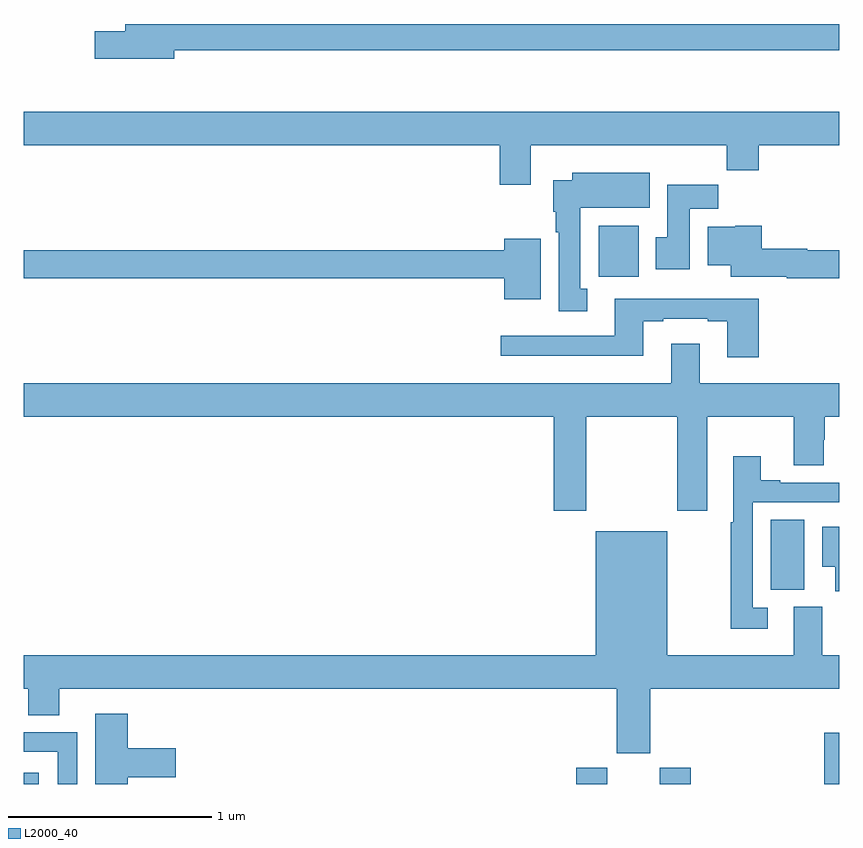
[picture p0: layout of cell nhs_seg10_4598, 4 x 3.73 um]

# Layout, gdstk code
import gdstk
lib = gdstk.Library(unit=1e-6, precision=1e-09)
def R(c, l, rs):  # rectangles x0, y0, x1, y1
    for r in rs: c.add(gdstk.rectangle(r[:2], r[2:], *l))
def P(c, l, *ps):  # polygons
    for p in ps: c.add(gdstk.Polygon(p, *l))
L2000_40 = (2000, 40)

nhs_seg10_4598 = lib.new_cell('nhs_seg10_4598')
R(nhs_seg10_4598, L2000_40, [(373,1314.5,373.075,1314.556), (375.71,1314.5,375.862,1314.579), (376.118,1314.5,376.271,1314.579), (376.926,1314.5,377,1314.752), (376.664,1315.453,376.828,1315.796), (375.819,1316.988,376.015,1317.238)])
P(nhs_seg10_4598, L2000_40, [(373.738,1318.098),(377,1318.098),(377,1318.226),(373.499,1318.226),(373.499,1318.19),(373.35,1318.19),(373.35,1318.055),(373.738,1318.055)],
  [(375.487,1317.632),(376.447,1317.632),(376.447,1317.508),(376.604,1317.508),(376.604,1317.632),(377,1317.632),(377,1317.796),(373,1317.796),(373,1317.632),(375.335,1317.632),(375.335,1317.438),(375.487,1317.438)],
  [(375.763,1316.929),(375.73,1316.929),(375.73,1317.326),(376.069,1317.326),(376.069,1317.496),(375.689,1317.496),(375.689,1317.46),(375.596,1317.46),(375.596,1317.306),(375.608,1317.306),(375.608,1317.206),(375.623,1317.206),(375.623,1316.817),(375.763,1316.817)],
  [(376.267,1317.32),(376.406,1317.32),(376.406,1317.438),(376.157,1317.438),(376.157,1317.18),(376.1,1317.18),(376.1,1317.024),(376.267,1317.024)],
  [(377,1317.116),(376.842,1317.116),(376.842,1317.124),(376.619,1317.124),(376.619,1317.238),(376.488,1317.238),(376.488,1317.232),(376.355,1317.232),(376.355,1317.044),(376.466,1317.044),(376.466,1316.987),(376.742,1316.987),(376.742,1316.98),(377,1316.98)],
  [(375.535,1317.172),(375.356,1317.172),(375.356,1317.116),(373,1317.116),(373,1316.98),(375.356,1316.98),(375.356,1316.876),(375.535,1316.876)],
  [(376.604,1316.878),(375.899,1316.878),(375.899,1316.697),(375.339,1316.697),(375.339,1316.6),(376.039,1316.6),(376.039,1316.769),(376.135,1316.769),(376.135,1316.781),(376.355,1316.781),(376.355,1316.769),(376.451,1316.769),(376.451,1316.592),(376.604,1316.592)],
  [(375.759,1316.3),(376.204,1316.3),(376.204,1315.839),(376.351,1315.839),(376.351,1316.3),(376.775,1316.3),(376.775,1316.062),(376.923,1316.062),(376.923,1316.187),(376.928,1316.187),(376.928,1316.3),(377,1316.3),(377,1316.464),(376.315,1316.464),(376.315,1316.659),(376.175,1316.659),(376.175,1316.464),(373,1316.464),(373,1316.3),(375.599,1316.3),(375.599,1315.839),(375.759,1315.839)],
  [(376.648,1315.365),(376.575,1315.365),(376.575,1315.881),(377,1315.881),(377,1315.977),(376.711,1315.977),(376.711,1315.99),(376.615,1315.99),(376.615,1316.107),(376.479,1316.107),(376.479,1315.784),(376.467,1315.784),(376.467,1315.26),(376.648,1315.26)],
  [(377,1315.762),(376.916,1315.762),(376.916,1315.565),(376.979,1315.565),(376.979,1315.446),(377,1315.446)],
  [(376.072,1314.968),(377,1314.968),(377,1315.132),(376.915,1315.132),(376.915,1315.368),(376.775,1315.368),(376.775,1315.132),(376.156,1315.132),(376.156,1315.738),(375.806,1315.738),(375.806,1315.132),(373,1315.132),(373,1314.968),(373.022,1314.968),(373.022,1314.838),(373.174,1314.838),(373.174,1314.968),(375.908,1314.968),(375.908,1314.651),(376.072,1314.651)],
  [(373.511,1314.533),(373.747,1314.533),(373.747,1314.675),(373.511,1314.675),(373.511,1314.844),(373.352,1314.844),(373.352,1314.5),(373.511,1314.5)],
  [(373.263,1314.753),(373,1314.753),(373,1314.657),(373.167,1314.657),(373.167,1314.5),(373.263,1314.5)])

lib.write_gds('nhs_seg10_4598.gds')
